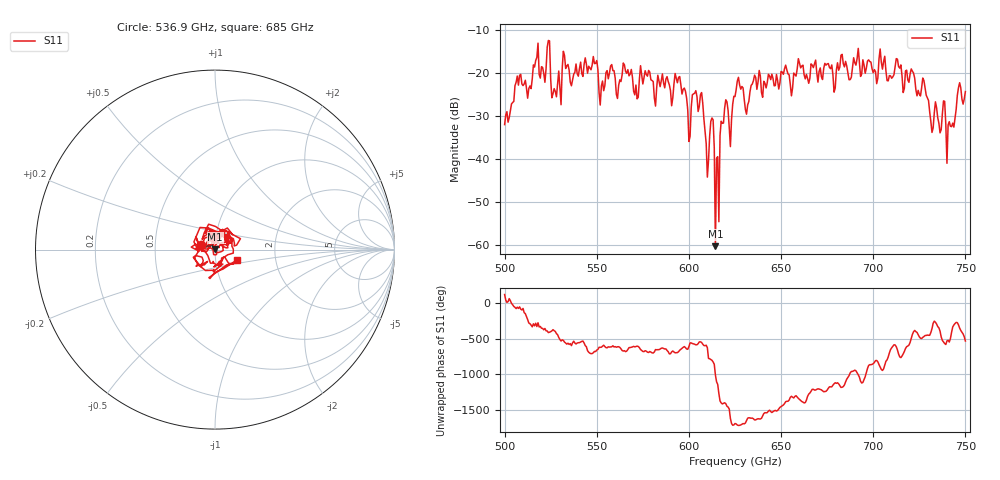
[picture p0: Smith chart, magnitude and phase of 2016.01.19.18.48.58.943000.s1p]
!Created with skrf (http://scikit-rf.org).
# GHz S RI R 50.0
!freq ReS11 ImS11
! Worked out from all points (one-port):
!   401 points, 500 GHz to 750 GHz, reference 50 ohm
!   lowest |S11| = -60.2 dB at 614.4 GHz (marker M1), VSWR 1.00, Z = 50 + j0.0925 ohm
!   |S11| at or under -10 dB: start of sweep to end of sweep
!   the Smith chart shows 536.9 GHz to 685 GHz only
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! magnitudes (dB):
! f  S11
! 500 GHz  -32.0
! 507.5 GHz  -22.9
! 513.8 GHz  -23.1
! 516.9 GHz  -17.1
! 523.8 GHz  -12.5
! 526.9 GHz  -23.7
! 531.2 GHz  -19.0
! 548.8 GHz  -17.9
! 552.5 GHz  -23.1
! 562.5 GHz  -21.6
! 593.8 GHz  -22.3
! 600 GHz  -35.9
! 603.1 GHz  -24.7
! 606.9 GHz  -24.6
! 609.4 GHz  -36.4
! 612.5 GHz  -30.5
! 614.4 GHz  -60.2
! 615.6 GHz  -39.5
! 618.8 GHz  -31.6
! 622.5 GHz  -37.1
! 625 GHz  -25.5
! 656.2 GHz  -23.5
! 660.6 GHz  -18.9
! 687.5 GHz  -21.6
! 718.8 GHz  -21.7
! 741.2 GHz  -31.3
! 746.2 GHz  -23.5
! 750 GHz  -24.4
